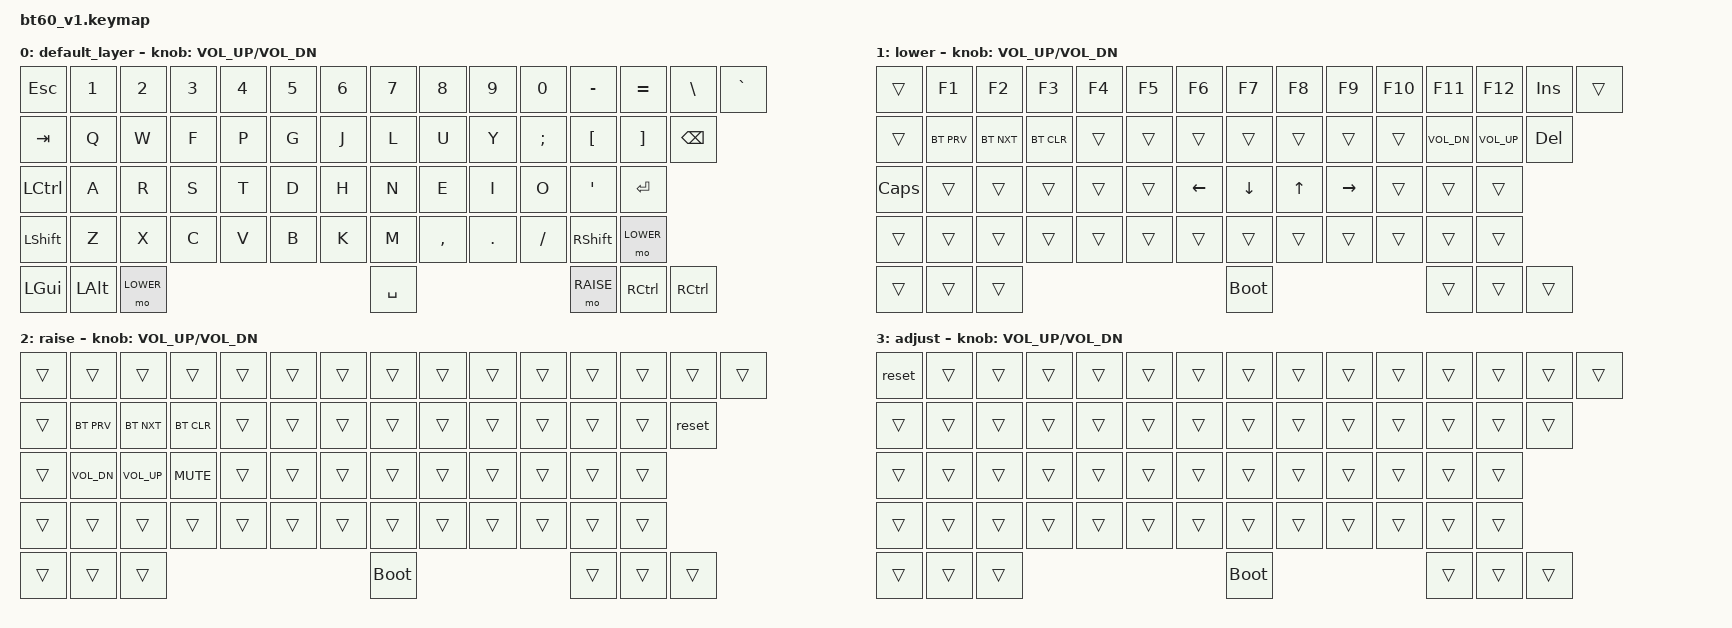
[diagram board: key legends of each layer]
#include <behaviors.dtsi>
#include <dt-bindings/zmk/keys.h>
#include <dt-bindings/zmk/bt.h>

//#define ANSI true
#define HHKB true
//#define ISO true
//#define ALL_1U true
#define SPLIT_BKSP_RSHFT true

#define DEFAULT 0
#define LOWER   1
#define RAISE   2
#define ADJUST  3

/ {
	chosen {
	#ifdef ANSI
		zmk,matrix_transform = &ansi_transform;
	#elif defined(HHKB)
		zmk,matrix_transform = &hhkb_transform;
	#elif defined(ISO)
		zmk,matrix_transform = &iso_transform;
	#elif defined(ALL_1U)
		zmk,matrix_transform = &all_1u_transform;
	#else
		zmk,matrix_transform = &split_transform;
	#endif
	};


	keymap {
		compatible = "zmk,keymap";
		#if defined(HHKB)
		default_layer {
				// ------------------------------------------------------------------------------------------
				// | ESC |  1  |  2  |  3  |  4  |  5  |  6  |  7  |  8  |  9  |  0  |  -  |  =  |  \  | `  |
				// | TAB  |  Q  |  W  |  E  |  R  |  T  |  Y  |  U  |  I  |  O  |  P  |  [  |  ]  |  BSPC   |
				// | CTRL  |  A  |  S  |  D  |  F  |  G  |  H  |  J  |  K  |  L  |  ;  |  '  |      ENTER   |
				// |  SHIFT    |  Z  |  X  |  C  |  V  |  B  |  N  |  M  |  ,  |  .  | /   | SHIFT |   1    |
				// |  CAPS  |  ALT  |  WIN |                     SPACE               |   WIN   | ALT | CTRL |
				// ------------------------------------------------------------------------------------------
			bindings = <
				&kp ESC       &kp N1          &kp N2          &kp N3        &kp N4    &kp N5    &kp N6    &kp N7    &kp  N8      &kp  N9     &kp  N0       &kp MINUS     &kp EQUAL          &kp BSLH    &kp GRAVE
				&kp TAB       &kp Q           &kp W           &kp F         &kp P     &kp G     &kp J     &kp L     &kp  U       &kp  Y      &kp  SEMI     &kp LBKT      &kp RBKT           &kp BSPC
				&kp LCTRL     &kp A           &kp R           &kp S         &kp T     &kp D     &kp H     &kp N     &kp  E       &kp  I      &kp  O        &kp SQT       &kp RET
				&kp LSHFT     &kp Z           &kp X           &kp C         &kp V     &kp B     &kp K     &kp M     &kp COMMA    &kp DOT     &kp FSLH      &kp RSHFT     &mo LOWER
				&kp LGUI      &kp LALT        &mo LOWER                                                   &kp SPACE                                        &mo RAISE     &kp RCTL           &kp RCTRL
			>;
			sensor-bindings = <&inc_dec_kp C_VOL_UP C_VOL_DN>;
		};
		lower {
			bindings = <
				&trans        &kp F1          &kp F2          &kp F3        &kp F4    &kp F5    &kp F6    &kp F7    &kp F8       &kp F9      &kp F10       &kp F11       &kp F12         &kp INS      &trans
				&trans        &bt BT_PRV      &bt BT_NXT      &bt BT_CLR    &trans    &trans    &trans    &trans    &trans       &trans      &trans        &kp C_VOL_DN  &kp C_VOL_UP    &kp DEL
				&kp CLCK      &trans          &trans          &trans        &trans    &trans    &kp LEFT  &kp DOWN  &kp UP       &kp RIGHT   &trans        &trans        &trans
				&trans        &trans          &trans          &trans        &trans    &trans    &trans    &trans    &trans       &trans      &trans        &trans        &trans
				&trans        &trans          &trans                                                      &bootloader                                      &trans        &trans          &trans
			>;
			sensor-bindings = <&inc_dec_kp C_VOL_UP C_VOL_DN>;
		};
		raise {
			bindings = <
				&trans        &trans          &trans          &trans        &trans    &trans    &trans    &trans    &trans       &trans      &trans        &trans        &trans             &trans       &trans  
				&trans        &bt BT_PRV      &bt BT_NXT      &bt BT_CLR    &trans    &trans    &trans    &trans    &trans       &trans      &trans        &trans        &trans             &reset
				&trans        &kp C_VOL_DN    &kp C_VOL_UP    &kp C_MUTE    &trans    &trans    &trans    &trans    &trans       &trans      &trans        &trans        &trans
				&trans        &trans          &trans          &trans        &trans    &trans    &trans    &trans    &trans       &trans      &trans        &trans        &trans
				&trans        &trans          &trans                                                      &bootloader                                      &trans        &trans             &trans
			>;
			sensor-bindings = <&inc_dec_kp C_VOL_UP C_VOL_DN>;
		};
		adjust {
			bindings = <
				&reset        &trans    &trans    &trans    &trans    &trans    &trans    &trans    &trans       &trans      &trans        &trans        &trans             &trans       &trans  
				&trans        &trans    &trans    &trans    &trans    &trans    &trans    &trans    &trans       &trans      &trans        &trans        &trans             &trans
				&trans        &trans    &trans    &trans    &trans    &trans    &trans    &trans    &trans       &trans      &trans        &trans        &trans
				&trans        &trans    &trans    &trans    &trans    &trans    &trans    &trans    &trans       &trans      &trans        &trans        &trans
				&trans        &trans    &trans                                                      &bootloader                            &trans        &trans             &trans
			>;
			sensor-bindings = <&inc_dec_kp C_VOL_UP C_VOL_DN>;
		};
		#endif
	};
};

/ {
    conditional_layers {
        compatible = "zmk,conditional-layers";
        tri_layer {
            if-layers = <LOWER RAISE>;
            then-layer = <ADJUST>;
        };
    };
};
